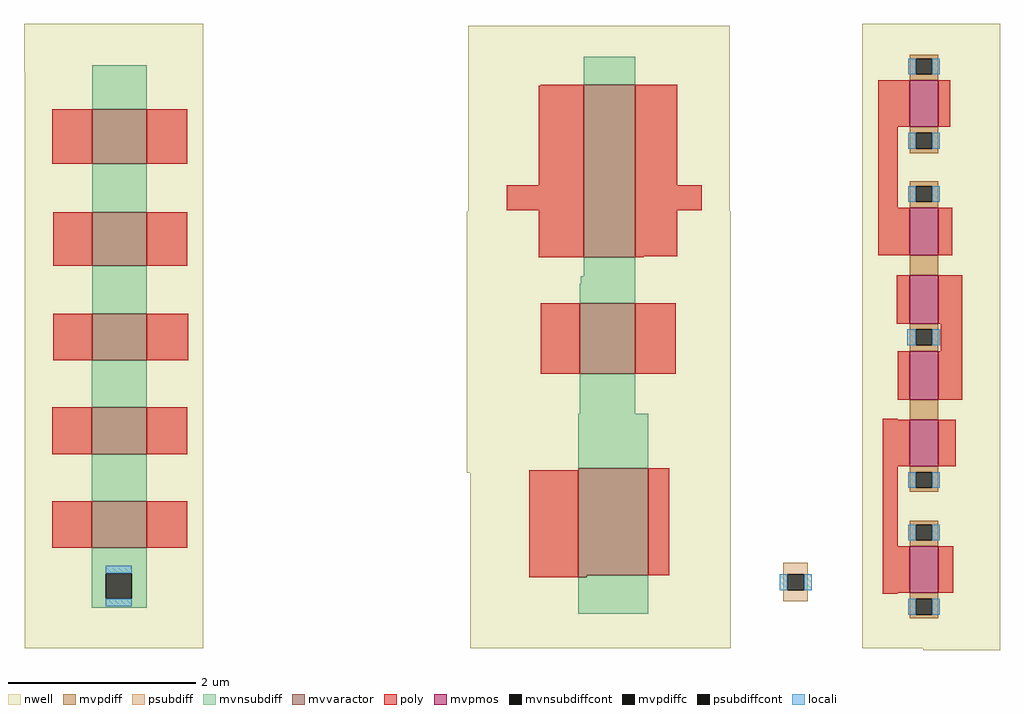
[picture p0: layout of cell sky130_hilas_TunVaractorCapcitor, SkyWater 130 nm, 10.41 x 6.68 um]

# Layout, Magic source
magic
tech sky130A
<< nwell >>
rect 0 617 191 668
rect 1 2 191 617
rect 474 468 753 666
rect 472 189 754 468
rect 476 2 754 189
rect 894 2 1041 668
rect 959 0 1041 2
<< mvpmos >>
rect 945 558 975 608
rect 945 421 975 472
rect 945 348 975 400
rect 945 267 975 319
rect 945 196 975 246
rect 945 61 975 111
<< mvvaractor >>
rect 73 519 131 577
rect 73 410 131 467
rect 597 419 652 603
rect 73 309 131 359
rect 593 295 652 370
rect 72 209 131 259
rect 72 109 131 159
rect 591 80 666 194
rect 591 78 600 80
<< mvpdiff >>
rect 945 631 975 635
rect 945 614 951 631
rect 969 614 975 631
rect 945 608 975 614
rect 945 552 975 558
rect 945 535 951 552
rect 969 535 975 552
rect 945 530 975 535
rect 945 495 975 500
rect 945 478 951 495
rect 969 478 975 495
rect 945 472 975 478
rect 945 400 975 421
rect 945 342 975 348
rect 945 325 951 342
rect 969 325 975 342
rect 945 319 975 325
rect 945 246 975 267
rect 945 190 975 196
rect 945 173 951 190
rect 969 173 975 190
rect 945 169 975 173
rect 945 134 975 138
rect 945 117 951 134
rect 969 117 975 134
rect 945 111 975 117
rect 945 55 975 61
rect 945 38 951 55
rect 969 38 975 55
rect 945 34 975 38
<< mvpdiffc >>
rect 951 614 969 631
rect 951 535 969 552
rect 951 478 969 495
rect 951 325 969 342
rect 951 173 969 190
rect 951 117 969 134
rect 951 38 969 55
<< psubdiff >>
rect 810 81 836 93
rect 810 64 814 81
rect 832 64 836 81
rect 810 52 836 64
<< mvnsubdiff >>
rect 73 577 131 624
rect 597 603 652 633
rect 73 467 131 519
rect 73 359 131 410
rect 597 399 652 419
rect 594 391 652 399
rect 593 370 652 391
rect 72 259 131 309
rect 593 252 652 295
rect 72 159 131 209
rect 591 194 666 252
rect 72 82 131 109
rect 72 55 87 82
rect 115 55 131 82
rect 600 78 666 80
rect 72 45 131 55
rect 591 39 666 78
<< psubdiffcont >>
rect 814 64 832 81
<< mvnsubdiffcont >>
rect 87 55 115 82
<< poly >>
rect 551 602 597 603
rect 30 519 73 577
rect 131 519 174 577
rect 549 496 597 602
rect 515 469 597 496
rect 31 410 73 467
rect 131 410 174 467
rect 549 419 597 469
rect 652 496 697 603
rect 911 558 945 608
rect 975 558 988 608
rect 652 469 723 496
rect 911 472 932 558
rect 652 420 697 469
rect 911 421 945 472
rect 975 421 990 472
rect 652 419 661 420
rect 31 309 73 359
rect 131 309 175 359
rect 551 295 593 370
rect 652 295 695 370
rect 931 348 945 400
rect 975 348 1001 400
rect 978 319 1001 348
rect 30 209 72 259
rect 131 209 174 259
rect 932 267 945 319
rect 975 267 1001 319
rect 916 246 932 247
rect 916 196 945 246
rect 975 196 994 246
rect 30 109 72 159
rect 131 109 174 159
rect 539 78 591 192
rect 666 80 688 194
rect 916 111 932 196
rect 916 61 945 111
rect 975 61 991 111
rect 916 60 932 61
<< locali >>
rect 943 614 951 631
rect 969 614 977 631
rect 943 535 951 552
rect 969 535 977 552
rect 943 478 951 495
rect 969 478 977 495
rect 942 325 951 342
rect 969 325 977 342
rect 943 173 951 190
rect 969 173 977 190
rect 943 117 951 134
rect 969 117 977 134
rect 87 82 115 90
rect 806 64 814 81
rect 832 64 840 81
rect 87 47 115 55
rect 943 38 951 55
rect 969 38 977 55
<< properties >>
string LEFsite unithd
string LEFclass CORE
string LEFsymmetry X Y R90
<< end >>
